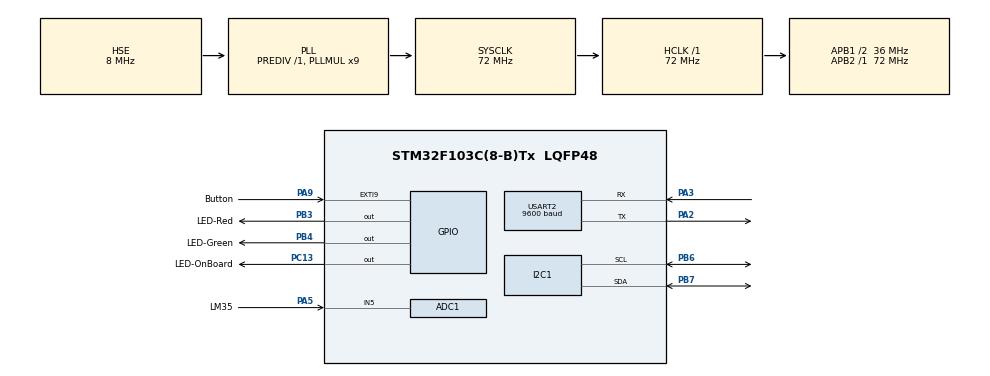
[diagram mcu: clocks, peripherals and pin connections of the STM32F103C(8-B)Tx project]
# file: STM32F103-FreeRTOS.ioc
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ADC1.Channel-0\#ChannelRegularConversion=ADC_CHANNEL_5
ADC1.NbrOfConversionFlag=1
ADC1.Rank-0\#ChannelRegularConversion=1
ADC1.SamplingTime-0\#ChannelRegularConversion=ADC_SAMPLETIME_1CYCLE_5
ADC1.master=1
FREERTOS.Tasks01=onboardLedCtrl,25,128,onboardLedCtrlTask,Default,NULL,Dynamic,NULL,NULL;getTemperature,16,128,getTemperatureTask,Default,NULL,Dynamic,NULL,NULL;redLedCtrl,8,128,redLedCtrlTask,Default,NULL,Dynamic,NULL,NULL;myButtonCtrl,8,128,myButtonCtrlTask,Default,NULL,Dynamic,NULL,NULL
I2C1.I2C_Mode=I2C_Fast
Mcu.Family=STM32F1
Mcu.Name=STM32F103C(8-B)Tx
Mcu.Package=LQFP48
NVIC.ADC1_2_IRQn=true\:0\:0\:false\:false\:true\:false\:true\:true
NVIC.PriorityGroup=NVIC_PRIORITYGROUP_4
NVIC.RCC_IRQn=true\:0\:0\:false\:false\:true\:false\:true\:false
NVIC.TIM3_IRQn=true\:0\:0\:false\:false\:true\:false\:false\:true
NVIC.TimeBase=TIM3_IRQn
NVIC.TimeBaseIP=TIM3
NVIC.USART2_IRQn=true\:0\:0\:false\:false\:true\:false\:true\:true
PA13.Mode=Serial_Wire
PA13.Signal=SYS_JTMS-SWDIO
PA14.Mode=Serial_Wire
PA14.Signal=SYS_JTCK-SWCLK
PA2.Mode=Asynchronous
PA2.Signal=USART2_TX
PA3.Mode=Asynchronous
PA3.Signal=USART2_RX
PA5.GPIO_Label=LM35
PA5.Signal=ADCx_IN5
PA9.GPIO_Label=Button
PA9.Signal=GPXTI9
PB3.GPIO_Label=LED-Red
PB3.PinState=GPIO_PIN_SET
PB3.Signal=GPIO_Output
PB4.GPIO_Label=LED-Green
PB4.Signal=GPIO_Output
PB6.Mode=I2C
PB6.Signal=I2C1_SCL
PB7.Mode=I2C
PB7.Signal=I2C1_SDA
PC13-TAMPER-RTC.GPIO_Label=LED-OnBoard
PC13-TAMPER-RTC.PinState=GPIO_PIN_SET
PC13-TAMPER-RTC.Signal=GPIO_Output
PD0-OSC_IN.Mode=HSE-External-Oscillator
PD0-OSC_IN.Signal=RCC_OSC_IN
PD1-OSC_OUT.Mode=HSE-External-Oscillator
PD1-OSC_OUT.Signal=RCC_OSC_OUT
ProjectManager.HeapSize=0x200
ProjectManager.StackSize=0x400
ProjectManager.TargetToolchain=STM32CubeIDE
RCC.ADCPresc=RCC_ADCPCLK2_DIV6
RCC.AHBFreq_Value=72000000
RCC.APB1CLKDivider=RCC_HCLK_DIV2
RCC.APB1Freq_Value=36000000
RCC.APB1TimFreq_Value=72000000
RCC.APB2Freq_Value=72000000
RCC.APB2TimFreq_Value=72000000
RCC.HCLKFreq_Value=72000000
RCC.PLLMUL=RCC_PLL_MUL9
RCC.PLLSourceVirtual=RCC_PLLSOURCE_HSE
RCC.SYSCLKFreq_VALUE=72000000
RCC.SYSCLKSource=RCC_SYSCLKSOURCE_PLLCLK
RCC.USBFreq_Value=72000000
SH.ADCx_IN5.0=ADC1_IN5,IN5
USART2.BaudRate=9600
USART2.VirtualMode=VM_ASYNC
VP_ADC1_TempSens_Input.Mode=IN-TempSens
VP_FREERTOS_VS_CMSIS_V2.Mode=CMSIS_V2
VP_SYS_VS_tim3.Mode=TIM3
board=custom

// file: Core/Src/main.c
/* USER CODE BEGIN Header */
/**
  ******************************************************************************
  * @file           : main.c
  * @brief          : Main program body
  ******************************************************************************
  * @attention
  *
  * <h2><center>&copy; Copyright (c) 2020 STMicroelectronics.
  * All rights reserved.</center></h2>
  *
  * This software component is licensed by ST under BSD 3-Clause license,
  * the "License"; You may not use this file except in compliance with the
  * License. You may obtain a copy of the License at:
  *                        opensource.org/licenses/BSD-3-Clause
  *
  ******************************************************************************
  */
/* USER CODE END Header */
#include "main.h"
#include "cmsis_os.h"
#include "cmsis_os2.h"

/* USER CODE BEGIN Includes */
#include <stdio.h>
#include <temp_lib.h>
#include <utils_lib.h>
#include "bluetooth_lib.h"

/* USER CODE END Includes */

ADC_HandleTypeDef hadc1;

I2C_HandleTypeDef hi2c1;

UART_HandleTypeDef huart2;

/* Definitions for onboardLedCtrl */
osThreadId_t onboardLedCtrlHandle;
const osThreadAttr_t onboardLedCtrl_attributes = {
  .name = "onboardLedCtrl",
  .priority = (osPriority_t) osPriorityNormal1,
  .stack_size = 128 * 4
};
/* Definitions for getTemperature */
osThreadId_t getTemperatureHandle;
const osThreadAttr_t getTemperature_attributes = {
  .name = "getTemperature",
  .priority = (osPriority_t) osPriorityBelowNormal,
  .stack_size = 128 * 4
};
/* Definitions for redLedCtrl */
osThreadId_t redLedCtrlHandle;
const osThreadAttr_t redLedCtrl_attributes = {
  .name = "redLedCtrl",
  .priority = (osPriority_t) osPriorityLow,
  .stack_size = 128 * 4
};
/* Definitions for myButtonCtrl */
osThreadId_t myButtonCtrlHandle;
const osThreadAttr_t myButtonCtrl_attributes = {
  .name = "myButtonCtrl",
  .priority = (osPriority_t) osPriorityLow,
  .stack_size = 128 * 4
};

void SystemClock_Config(void);
static void MX_GPIO_Init(void);
static void MX_ADC1_Init(void);
static void MX_I2C1_Init(void);
static void MX_USART2_UART_Init(void);
void onboardLedCtrlTask(void *argument);
void getTemperatureTask(void *argument);
void redLedCtrlTask(void *argument);
void myButtonCtrlTask(void *argument);

int main(void)
{

  /* MCU Configuration--------------------------------------------------------*/

  /* Reset of all peripherals, Initializes the Flash interface and the Systick. */
  HAL_Init();

  /* Configure the system clock */
  SystemClock_Config();

  /* Initialize all configured peripherals */
  MX_GPIO_Init();
  MX_ADC1_Init();
  MX_I2C1_Init();
  MX_USART2_UART_Init();
  /* USER CODE BEGIN 2 */
  HAL_Delay(1000);
  memset(bluetoothReceiveCommand, 0, sizeof(bluetoothReceiveCommand));
  __HAL_UART_ENABLE_IT(&huart2, UART_IT_RXNE);
  /* USER CODE END 2 */

  /* Init scheduler */
  osKernelInitialize();

  /* Create the thread(s) */
  /* creation of onboardLedCtrl */
  onboardLedCtrlHandle = osThreadNew(onboardLedCtrlTask, NULL, &onboardLedCtrl_attributes);

  /* creation of getTemperature */
  getTemperatureHandle = osThreadNew(getTemperatureTask, NULL, &getTemperature_attributes);

  /* creation of redLedCtrl */
  redLedCtrlHandle = osThreadNew(redLedCtrlTask, NULL, &redLedCtrl_attributes);

  /* creation of myButtonCtrl */
  myButtonCtrlHandle = osThreadNew(myButtonCtrlTask, NULL, &myButtonCtrl_attributes);

  /* Start scheduler */
  osKernelStart();

  /* We should never get here as control is now taken by the scheduler */
  /* Infinite loop */
  while (1)
  {

  }
}

void SystemClock_Config(void)
{
  RCC_OscInitTypeDef RCC_OscInitStruct = {0};
  RCC_ClkInitTypeDef RCC_ClkInitStruct = {0};
  RCC_PeriphCLKInitTypeDef PeriphClkInit = {0};

  /** Initializes the RCC Oscillators according to the specified parameters
  * in the RCC_OscInitTypeDef structure.
  */
  RCC_OscInitStruct.OscillatorType = RCC_OSCILLATORTYPE_HSE;
  RCC_OscInitStruct.HSEState = RCC_HSE_ON;
  RCC_OscInitStruct.HSEPredivValue = RCC_HSE_PREDIV_DIV1;
  RCC_OscInitStruct.HSIState = RCC_HSI_ON;
  RCC_OscInitStruct.PLL.PLLState = RCC_PLL_ON;
  RCC_OscInitStruct.PLL.PLLSource = RCC_PLLSOURCE_HSE;
  RCC_OscInitStruct.PLL.PLLMUL = RCC_PLL_MUL9;
  if (HAL_RCC_OscConfig(&RCC_OscInitStruct) != HAL_OK)
  {
    Error_Handler();
  }
  /** Initializes the CPU, AHB and APB buses clocks
  */
  RCC_ClkInitStruct.ClockType = RCC_CLOCKTYPE_HCLK|RCC_CLOCKTYPE_SYSCLK
                              |RCC_CLOCKTYPE_PCLK1|RCC_CLOCKTYPE_PCLK2;
  RCC_ClkInitStruct.SYSCLKSource = RCC_SYSCLKSOURCE_PLLCLK;
  RCC_ClkInitStruct.AHBCLKDivider = RCC_SYSCLK_DIV1;
  RCC_ClkInitStruct.APB1CLKDivider = RCC_HCLK_DIV2;
  RCC_ClkInitStruct.APB2CLKDivider = RCC_HCLK_DIV1;

  if (HAL_RCC_ClockConfig(&RCC_ClkInitStruct, FLASH_LATENCY_2) != HAL_OK)
  {
    Error_Handler();
  }
  PeriphClkInit.PeriphClockSelection = RCC_PERIPHCLK_ADC;
  PeriphClkInit.AdcClockSelection = RCC_ADCPCLK2_DIV6;
  if (HAL_RCCEx_PeriphCLKConfig(&PeriphClkInit) != HAL_OK)
  {
    Error_Handler();
  }
}

static void MX_ADC1_Init(void)
{

  ADC_ChannelConfTypeDef sConfig = {0};

  /** Common config
  */
  hadc1.Instance = ADC1;
  hadc1.Init.ScanConvMode = ADC_SCAN_DISABLE;
  hadc1.Init.ContinuousConvMode = DISABLE;
  hadc1.Init.DiscontinuousConvMode = DISABLE;
  hadc1.Init.ExternalTrigConv = ADC_SOFTWARE_START;
  hadc1.Init.DataAlign = ADC_DATAALIGN_RIGHT;
  hadc1.Init.NbrOfConversion = 1;
  if (HAL_ADC_Init(&hadc1) != HAL_OK)
  {
    Error_Handler();
  }
  /** Configure Regular Channel
  */
  sConfig.Channel = ADC_CHANNEL_5;
  sConfig.Rank = ADC_REGULAR_RANK_1;
  sConfig.SamplingTime = ADC_SAMPLETIME_1CYCLE_5;
  if (HAL_ADC_ConfigChannel(&hadc1, &sConfig) != HAL_OK)
  {
    Error_Handler();
  }

}

static void MX_I2C1_Init(void)
{

  hi2c1.Instance = I2C1;
  hi2c1.Init.ClockSpeed = 400000;
  hi2c1.Init.DutyCycle = I2C_DUTYCYCLE_2;
  hi2c1.Init.OwnAddress1 = 0;
  hi2c1.Init.AddressingMode = I2C_ADDRESSINGMODE_7BIT;
  hi2c1.Init.DualAddressMode = I2C_DUALADDRESS_DISABLE;
  hi2c1.Init.OwnAddress2 = 0;
  hi2c1.Init.GeneralCallMode = I2C_GENERALCALL_DISABLE;
  hi2c1.Init.NoStretchMode = I2C_NOSTRETCH_DISABLE;
  if (HAL_I2C_Init(&hi2c1) != HAL_OK)
  {
    Error_Handler();
  }

}

static void MX_USART2_UART_Init(void)
{

  huart2.Instance = USART2;
  huart2.Init.BaudRate = 9600;
  huart2.Init.WordLength = UART_WORDLENGTH_8B;
  huart2.Init.StopBits = UART_STOPBITS_1;
  huart2.Init.Parity = UART_PARITY_NONE;
  huart2.Init.Mode = UART_MODE_TX_RX;
  huart2.Init.HwFlowCtl = UART_HWCONTROL_NONE;
  huart2.Init.OverSampling = UART_OVERSAMPLING_16;
  if (HAL_UART_Init(&huart2) != HAL_OK)
  {
    Error_Handler();
  }

}

static void MX_GPIO_Init(void)
{
  GPIO_InitTypeDef GPIO_InitStruct = {0};

  /* GPIO Ports Clock Enable */
  __HAL_RCC_GPIOC_CLK_ENABLE();
  __HAL_RCC_GPIOD_CLK_ENABLE();
  __HAL_RCC_GPIOA_CLK_ENABLE();
  __HAL_RCC_GPIOB_CLK_ENABLE();

  /*Configure GPIO pin Output Level */
  HAL_GPIO_WritePin(LED_OnBoard_GPIO_Port, LED_OnBoard_Pin, GPIO_PIN_SET);

  /*Configure GPIO pin Output Level */
  HAL_GPIO_WritePin(LED_Red_GPIO_Port, LED_Red_Pin, GPIO_PIN_SET);

  /*Configure GPIO pin Output Level */
  HAL_GPIO_WritePin(LED_Green_GPIO_Port, LED_Green_Pin, GPIO_PIN_RESET);

  /*Configure GPIO pin : LED_OnBoard_Pin */
  GPIO_InitStruct.Pin = LED_OnBoard_Pin;
  GPIO_InitStruct.Mode = GPIO_MODE_OUTPUT_PP;
  GPIO_InitStruct.Pull = GPIO_NOPULL;
  GPIO_InitStruct.Speed = GPIO_SPEED_FREQ_LOW;
  HAL_GPIO_Init(LED_OnBoard_GPIO_Port, &GPIO_InitStruct);

  /*Configure GPIO pin : Button_Pin */
  GPIO_InitStruct.Pin = Button_Pin;
  GPIO_InitStruct.Mode = GPIO_MODE_IT_RISING;
  GPIO_InitStruct.Pull = GPIO_NOPULL;
  HAL_GPIO_Init(Button_GPIO_Port, &GPIO_InitStruct);

  /*Configure GPIO pins : LED_Red_Pin LED_Green_Pin */
  GPIO_InitStruct.Pin = LED_Red_Pin|LED_Green_Pin;
  GPIO_InitStruct.Mode = GPIO_MODE_OUTPUT_PP;
  GPIO_InitStruct.Pull = GPIO_NOPULL;
  GPIO_InitStruct.Speed = GPIO_SPEED_FREQ_LOW;
  HAL_GPIO_Init(GPIOB, &GPIO_InitStruct);

}

void onboardLedCtrlTask(void *argument)
{
  /* USER CODE BEGIN 5 */
  /* Infinite loop */
  for(;;)
  {
    if(ledBlinkRatePerSecond[LED_ONBOARD] > 0){
      HAL_GPIO_TogglePin(LED_OnBoard_GPIO_Port, LED_OnBoard_Pin);
      osDelay(1000 / 2 / ledBlinkRatePerSecond[LED_ONBOARD]);
    }
    else{
      osDelay( 1000 );
    }
  }
  /* USER CODE END 5 */
}

void getTemperatureTask(void *argument)
{
  /* USER CODE BEGIN getTemperatureTask */
  char temperature[20] = "";
  uint32_t rawADCData;
  /* Infinite loop */
  for(;;)
  {
    // Test: Set GPIO pin high
    HAL_GPIO_WritePin(GPIOA, GPIO_PIN_0, GPIO_PIN_SET);

    // Get ADC value
    HAL_ADC_Start(&hadc1);
    HAL_ADC_PollForConversion(&hadc1, HAL_MAX_DELAY);
    rawADCData = HAL_ADC_GetValue(&hadc1);
    tempCelcius = ( rawADCData - 328) / 24.0;

    // Test: Set GPIO pin low
    HAL_GPIO_WritePin(GPIOA, GPIO_PIN_10, GPIO_PIN_RESET);
    UARTWriteString("T: ");
    gcvt((double)tempCelcius, 6, (char*)temperature);
    UARTWriteString((char*)temperature);
    UARTWriteString(" C\n");
    osDelay(1000);
  }
  /* USER CODE END getTemperatureTask */
}

void redLedCtrlTask(void *argument)
{
  /* USER CODE BEGIN redLedCtrlTask */
  /* Infinite loop */
  for(;;)
  {
    if(ledBlinkRatePerSecond[LED_RED] > 0){
      HAL_GPIO_TogglePin(LED_Red_GPIO_Port, LED_Red_Pin);
      osDelay(1000 / 2 / ledBlinkRatePerSecond[LED_RED]);
    }
    else{
      osDelay( 1000 );
    }
  }
  /* USER CODE END redLedCtrlTask */
}

void myButtonCtrlTask(void *argument)
{
  /* USER CODE BEGIN myButtonCtrlTask */
  /* Infinite loop */
  for(;;)
  {
    osDelay(100);
    if(HAL_GPIO_ReadPin(Button_GPIO_Port, Button_Pin) == GPIO_PIN_RESET){
      osDelay(40);
      if(HAL_GPIO_ReadPin(Button_GPIO_Port, Button_Pin) == GPIO_PIN_RESET){
    	UARTWriteString("Button was pressed\n");
      }
    }
  }
  /* USER CODE END myButtonCtrlTask */
}

void HAL_TIM_PeriodElapsedCallback(TIM_HandleTypeDef *htim)
{
  if (htim->Instance == TIM3) {
    HAL_IncTick();
  }
}

void Error_Handler(void)
{
}

/************************ (C) COPYRIGHT STMicroelectronics *****END OF FILE****/
